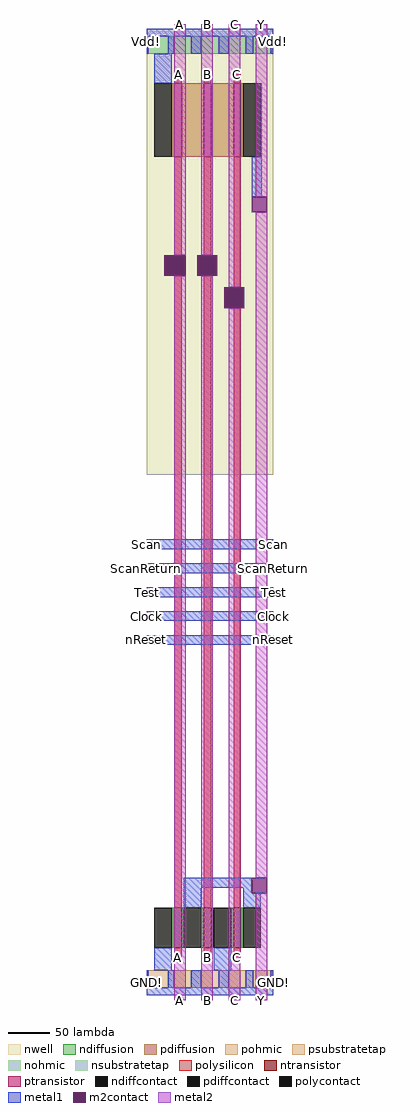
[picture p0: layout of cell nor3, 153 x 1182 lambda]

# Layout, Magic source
magic
tech tsmc180
<< nwell >>
rect 0 636 153 1176
<< polysilicon >>
rect 33 1110 42 1121
rect 69 1110 78 1121
rect 105 1110 114 1121
rect 33 902 42 1021
rect 69 902 78 1021
rect 33 112 42 877
rect 69 112 78 877
rect 105 863 114 1021
rect 105 112 114 838
rect 33 52 42 63
rect 69 52 78 63
rect 105 52 114 63
<< ndiffusion >>
rect 30 63 33 112
rect 42 63 45 112
rect 66 63 69 112
rect 78 63 81 112
rect 102 63 105 112
rect 114 63 117 112
<< pdiffusion >>
rect 30 1021 33 1110
rect 42 1021 69 1110
rect 78 1021 105 1110
rect 114 1021 117 1110
<< pohmic >>
rect 0 15 2 36
rect 26 15 33 36
rect 54 15 66 36
rect 87 15 99 36
rect 120 15 129 36
rect 150 15 153 36
<< nohmic >>
rect 0 1146 2 1167
rect 26 1146 33 1167
rect 54 1146 66 1167
rect 87 1146 99 1167
rect 120 1146 129 1167
rect 150 1146 153 1167
<< ntransistor >>
rect 33 63 42 112
rect 69 63 78 112
rect 105 63 114 112
<< ptransistor >>
rect 33 1021 42 1110
rect 69 1021 78 1110
rect 105 1021 114 1110
<< polycontact >>
rect 21 877 47 902
rect 61 877 85 902
rect 94 838 118 863
<< ndiffcontact >>
rect 9 63 30 112
rect 45 63 66 112
rect 81 63 102 112
rect 117 63 138 112
<< pdiffcontact >>
rect 9 1021 30 1110
rect 117 1021 138 1110
<< psubstratetap >>
rect 2 15 26 36
rect 33 15 54 36
rect 66 15 87 36
rect 99 15 120 36
rect 129 15 150 36
<< nsubstratetap >>
rect 2 1146 26 1167
rect 33 1146 54 1167
rect 66 1146 87 1167
rect 99 1146 120 1167
rect 129 1146 150 1167
<< metal1 >>
rect 0 1167 153 1176
rect 0 1146 2 1167
rect 26 1146 33 1167
rect 54 1146 66 1167
rect 87 1146 99 1167
rect 120 1146 129 1167
rect 150 1146 153 1167
rect 9 1110 30 1146
rect 138 1021 139 1110
rect 127 973 139 1021
rect 0 546 153 558
rect 0 517 153 529
rect 0 488 153 500
rect 0 459 153 471
rect 0 430 153 442
rect 45 136 127 148
rect 45 112 66 136
rect 117 129 127 136
rect 117 112 138 129
rect 9 36 30 63
rect 81 36 102 63
rect 0 15 2 36
rect 26 15 33 36
rect 54 15 66 36
rect 87 15 99 36
rect 120 15 129 36
rect 150 15 153 36
rect 0 6 153 15
<< m2contact >>
rect 127 954 146 973
rect 21 877 47 902
rect 61 877 85 902
rect 94 838 118 863
rect 127 129 146 148
<< metal2 >>
rect 33 902 47 1182
rect 66 902 80 1182
rect 33 0 47 877
rect 66 0 80 877
rect 99 863 113 1182
rect 132 973 146 1182
rect 99 0 113 838
rect 132 148 146 954
rect 132 0 146 129
<< labels >>
rlabel metal1 0 6 0 36 3 GND!
rlabel metal1 0 1146 0 1176 3 Vdd!
rlabel metal2 132 0 146 0 1 Y
rlabel metal2 66 0 80 0 1 B
rlabel metal2 33 0 47 0 1 A
rlabel metal1 153 6 153 36 7 GND!
rlabel metal2 66 1182 80 1182 5 B
rlabel metal2 132 1182 146 1182 5 Y
rlabel metal2 33 1182 47 1182 5 A
rlabel polysilicon 38 1121 38 1121 1 A
rlabel polysilicon 73 1121 73 1121 1 B
rlabel metal1 153 1146 153 1176 7 Vdd!
rlabel polysilicon 109 52 109 52 1 C
rlabel polysilicon 37 52 37 52 1 A
rlabel polysilicon 73 52 73 52 1 B
rlabel polysilicon 109 1121 109 1121 1 C
rlabel metal2 99 1182 113 1182 5 C
rlabel metal2 99 0 113 0 1 C
rlabel metal1 153 546 153 558 7 Scan
rlabel metal1 153 517 153 529 7 ScanReturn
rlabel metal1 153 488 153 500 7 Test
rlabel metal1 153 459 153 471 7 Clock
rlabel metal1 153 430 153 442 7 nReset
rlabel metal1 0 430 0 442 3 nReset
rlabel metal1 0 459 0 471 3 Clock
rlabel metal1 0 488 0 500 3 Test
rlabel metal1 0 517 0 529 3 ScanReturn
rlabel metal1 0 546 0 558 3 Scan
<< end >>
